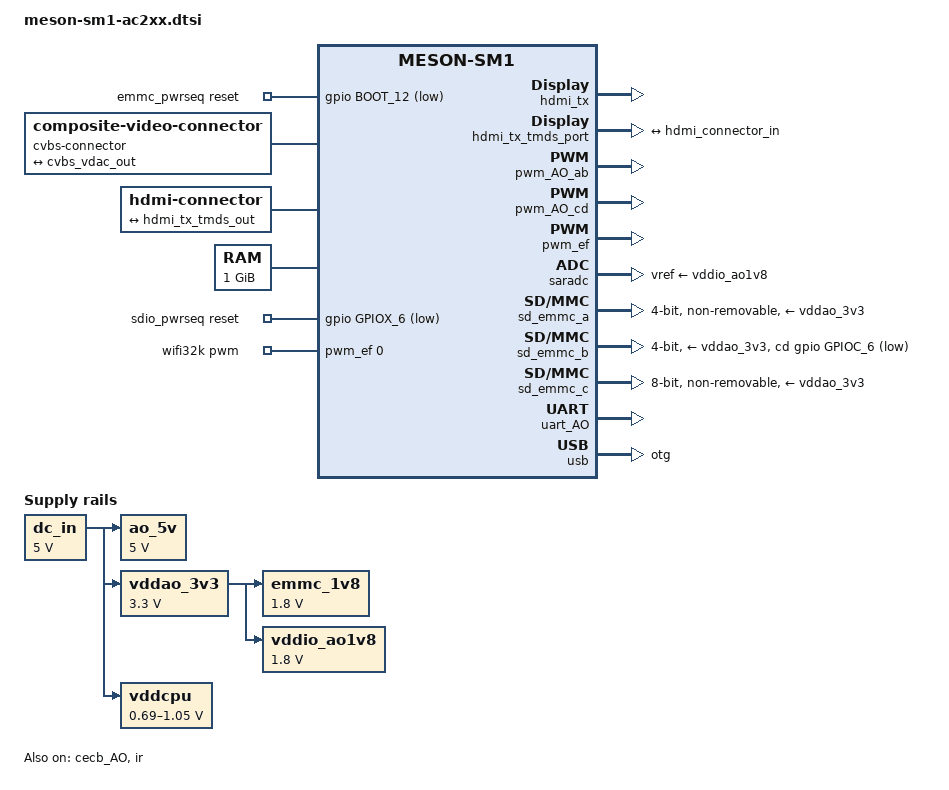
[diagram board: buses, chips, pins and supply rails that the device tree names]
// SPDX-License-Identifier: (GPL-2.0+ OR MIT)
/*
 * Copyright (c) 2019 BayLibre SAS. All rights reserved.
 * Copyright (c) 2020 Christian Hewitt <christianshewitt@gmail.com>
 *
 * AC200/AC202 = S905D3
 * AC213/AC214 = S905X3
 *
 */

#include "meson-sm1.dtsi"
#include <dt-bindings/gpio/gpio.h>
#include <dt-bindings/gpio/meson-g12a-gpio.h>
#include <dt-bindings/input/input.h>

/ {
	aliases {
		serial0 = &uart_AO;
		ethernet0 = &ethmac;
	};

	chosen {
		stdout-path = "serial0:115200n8";
	};

	emmc_pwrseq: emmc-pwrseq {
		compatible = "mmc-pwrseq-emmc";
		reset-gpios = <&gpio BOOT_12 GPIO_ACTIVE_LOW>;
	};

	cvbs-connector {
		compatible = "composite-video-connector";

		port {
			cvbs_connector_in: endpoint {
				remote-endpoint = <&cvbs_vdac_out>;
			};
		};
	};

	hdmi-connector {
		compatible = "hdmi-connector";
		type = "a";

		port {
			hdmi_connector_in: endpoint {
				remote-endpoint = <&hdmi_tx_tmds_out>;
			};
		};
	};

	memory@0 {
		device_type = "memory";
		reg = <0x0 0x0 0x0 0x40000000>;
	};

	ao_5v: regulator-ao_5v {
		compatible = "regulator-fixed";
		regulator-name = "AO_5V";
		regulator-min-microvolt = <5000000>;
		regulator-max-microvolt = <5000000>;
		vin-supply = <&dc_in>;
		regulator-always-on;
	};

	dc_in: regulator-dc_in {
		compatible = "regulator-fixed";
		regulator-name = "DC_IN";
		regulator-min-microvolt = <5000000>;
		regulator-max-microvolt = <5000000>;
		regulator-always-on;
	};

	emmc_1v8: regulator-emmc_1v8 {
		compatible = "regulator-fixed";
		regulator-name = "EMMC_1V8";
		regulator-min-microvolt = <1800000>;
		regulator-max-microvolt = <1800000>;
		vin-supply = <&vddao_3v3>;
		regulator-always-on;
	};

	vddao_3v3: regulator-vddao_3v3 {
		compatible = "regulator-fixed";
		regulator-name = "VDDAO_3V3";
		regulator-min-microvolt = <3300000>;
		regulator-max-microvolt = <3300000>;
		vin-supply = <&dc_in>;
		regulator-always-on;
	};

	vddcpu: regulator-vddcpu {
		compatible = "pwm-regulator";

		regulator-name = "VDDCPU";
		regulator-min-microvolt = <690000>;
		regulator-max-microvolt = <1050000>;

		vin-supply = <&dc_in>;

		pwms = <&pwm_AO_cd 1 1500 0>;
		pwm-dutycycle-range = <100 0>;

		regulator-boot-on;
		regulator-always-on;
	};

	vddio_ao1v8: regulator-vddio_ao1v8 {
		compatible = "regulator-fixed";
		regulator-name = "VDDIO_AO1V8";
		regulator-min-microvolt = <1800000>;
		regulator-max-microvolt = <1800000>;
		vin-supply = <&vddao_3v3>;
		regulator-always-on;
	};

	sdio_pwrseq: sdio-pwrseq {
		compatible = "mmc-pwrseq-simple";
		reset-gpios = <&gpio GPIOX_6 GPIO_ACTIVE_LOW>;
		clocks = <&wifi32k>;
		clock-names = "ext_clock";
	};

	wifi32k: wifi32k {
		compatible = "pwm-clock";
		#clock-cells = <0>;
		clock-frequency = <32768>;
		pwms = <&pwm_ef 0 30518 0>; /* PWM_E at 32.768KHz */
	};
};

&cec_AO {
	pinctrl-0 = <&cec_ao_a_h_pins>;
	pinctrl-names = "default";
	status = "disabled";
	hdmi-phandle = <&hdmi_tx>;
};

&cecb_AO {
	pinctrl-0 = <&cec_ao_b_h_pins>;
	pinctrl-names = "default";
	status = "okay";
	hdmi-phandle = <&hdmi_tx>;
};

&cpu0 {
	cpu-supply = <&vddcpu>;
	operating-points-v2 = <&cpu_opp_table>;
	clocks = <&clkc CLKID_CPU_CLK>;
	clock-latency = <50000>;
};

&cpu1 {
	cpu-supply = <&vddcpu>;
	operating-points-v2 = <&cpu_opp_table>;
	clocks = <&clkc CLKID_CPU1_CLK>;
	clock-latency = <50000>;
};

&cpu2 {
	cpu-supply = <&vddcpu>;
	operating-points-v2 = <&cpu_opp_table>;
	clocks = <&clkc CLKID_CPU2_CLK>;
	clock-latency = <50000>;
};

&cpu3 {
	cpu-supply = <&vddcpu>;
	operating-points-v2 = <&cpu_opp_table>;
	clocks = <&clkc CLKID_CPU3_CLK>;
	clock-latency = <50000>;
};

&cvbs_vdac_port {
	cvbs_vdac_out: endpoint {
		remote-endpoint = <&cvbs_connector_in>;
	};
};

&hdmi_tx {
	status = "okay";
	pinctrl-0 = <&hdmitx_hpd_pins>, <&hdmitx_ddc_pins>;
	pinctrl-names = "default";
};

&hdmi_tx_tmds_port {
	hdmi_tx_tmds_out: endpoint {
		remote-endpoint = <&hdmi_connector_in>;
	};
};

&ir {
	status = "okay";
	pinctrl-0 = <&remote_input_ao_pins>;
	pinctrl-names = "default";
};

&pwm_AO_ab {
	status = "okay";
	pinctrl-0 = <&pwm_ao_a_pins>;
	pinctrl-names = "default";
	clocks = <&xtal>;
	clock-names = "clkin0";
};

&pwm_AO_cd {
	pinctrl-0 = <&pwm_ao_d_e_pins>;
	pinctrl-names = "default";
	clocks = <&xtal>;
	clock-names = "clkin1";
	status = "okay";
};

&pwm_ef {
	status = "okay";
	pinctrl-0 = <&pwm_e_pins>;
	pinctrl-names = "default";
	clocks = <&xtal>;
	clock-names = "clkin0";
};

&saradc {
	status = "okay";
	vref-supply = <&vddio_ao1v8>;
};

/* SDIO */
&sd_emmc_a {
	status = "okay";
	pinctrl-0 = <&sdio_pins>;
	pinctrl-1 = <&sdio_clk_gate_pins>;
	pinctrl-names = "default", "clk-gate";
	#address-cells = <1>;
	#size-cells = <0>;

	bus-width = <4>;
	cap-sd-highspeed;
	sd-uhs-sdr104;
	max-frequency = <200000000>;

	non-removable;
	disable-wp;

	/* WiFi firmware requires power to be kept while in suspend */
	keep-power-in-suspend;

	mmc-pwrseq = <&sdio_pwrseq>;

	vmmc-supply = <&vddao_3v3>;
	vqmmc-supply = <&vddio_ao1v8>;
};

/* SD Card */
&sd_emmc_b {
	status = "okay";
	pinctrl-0 = <&sdcard_c_pins>;
	pinctrl-1 = <&sdcard_clk_gate_c_pins>;
	pinctrl-names = "default", "clk-gate";

	bus-width = <4>;
	cap-sd-highspeed;
	/* CRC errors are observed at 50MHz */
	max-frequency = <35000000>;
	disable-wp;

	cd-gpios = <&gpio GPIOC_6 GPIO_ACTIVE_LOW>;
	vmmc-supply = <&vddao_3v3>;
	vqmmc-supply = <&vddao_3v3>;
};

/* eMMC */
&sd_emmc_c {
	status = "okay";
	pinctrl-0 = <&emmc_ctrl_pins>, <&emmc_data_8b_pins>, <&emmc_ds_pins>;
	pinctrl-1 = <&emmc_clk_gate_pins>;
	pinctrl-names = "default", "clk-gate";

	bus-width = <8>;
	cap-mmc-highspeed;
	mmc-ddr-1_8v;
	mmc-hs200-1_8v;
	max-frequency = <200000000>;
	non-removable;
	disable-wp;

	mmc-pwrseq = <&emmc_pwrseq>;
	vmmc-supply = <&vddao_3v3>;
	vqmmc-supply = <&emmc_1v8>;
};

&uart_AO {
	status = "okay";
	pinctrl-0 = <&uart_ao_a_pins>;
	pinctrl-names = "default";
};

&usb {
	status = "okay";
	dr_mode = "otg";
};
